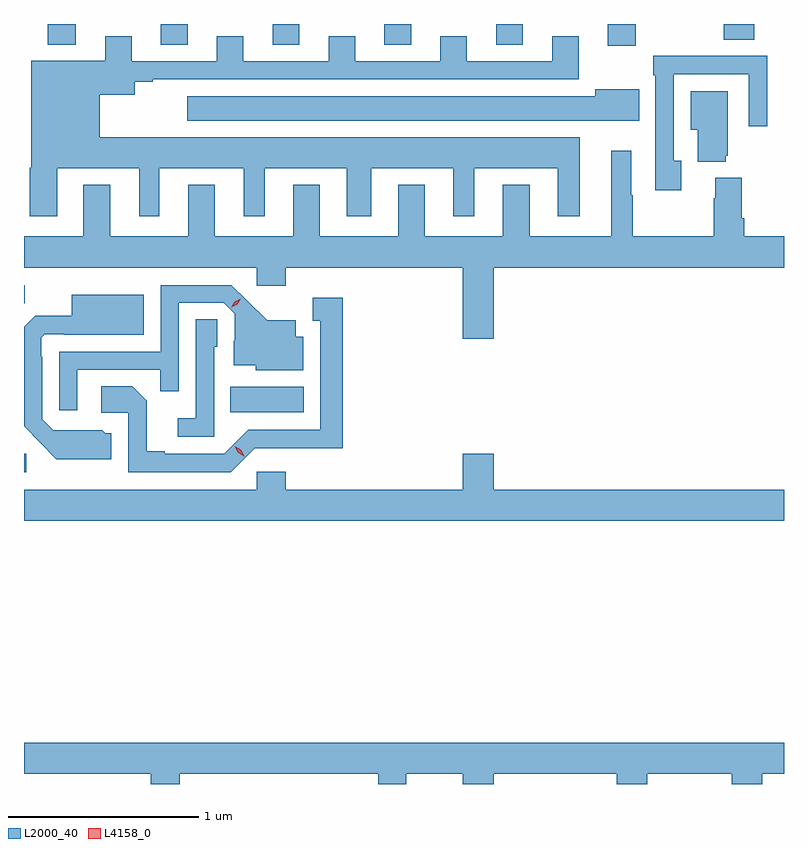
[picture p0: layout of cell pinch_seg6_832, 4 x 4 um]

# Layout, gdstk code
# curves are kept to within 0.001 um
import gdstk
lib = gdstk.Library(unit=1e-6, precision=1e-09)
def R(c, l, rs):  # rectangles x0, y0, x1, y1
    for r in rs: c.add(gdstk.rectangle(r[:2], r[2:], *l))
def A(c, l, x, y, w, h, nx, ny, dx, dy):  # array of equal rectangles
    R(c, l, [(x+i*dx, y+j*dy, x+i*dx+w, y+j*dy+h) for i in range(nx) for j in range(ny)])
def P(c, l, *ps):  # polygons
    for p in ps: c.add(gdstk.Polygon(p, *l))
L2000_40 = (2000, 40)
L4158_0 = (4158, 0)

pinch_seg6_832 = lib.new_cell('pinch_seg6_832')
A(pinch_seg6_832, L2000_40, 151.433, 992.464, 0.14, 0.11, 4, 1, 0.588, 0)
R(pinch_seg6_832, L2000_40, [(150.712,990.216,150.724,990.312), (151.798,990.53,152.185,990.664), (150.712,991.105,150.717,991.2), (153.785,992.46,153.933,992.574), (150.838,992.465,150.985,992.574), (154.396,992.491,154.556,992.574)])
P(pinch_seg6_832, L2000_40, [(150.886,991.814),(151.319,991.814),(151.319,991.563),(151.423,991.563),(151.423,991.814),(151.868,991.814),(151.868,991.563),(151.978,991.563),(151.978,991.814),(152.411,991.814),(152.411,991.563),(152.539,991.563),(152.539,991.814),(152.972,991.814),(152.972,991.563),(153.082,991.563),(153.082,991.814),(153.521,991.814),(153.521,991.563),(153.637,991.563),(153.637,991.978),(151.111,991.978),(151.111,992.201),(151.294,992.201),(151.294,992.271),(151.39,992.271),(151.39,992.283),(153.631,992.283),(153.631,992.509),(153.491,992.509),(153.491,992.379),(153.043,992.379),(153.043,992.509),(152.903,992.509),(152.903,992.379),(152.455,992.379),(152.455,992.509),(152.315,992.509),(152.315,992.379),(151.867,992.379),(151.867,992.509),(151.727,992.509),(151.727,992.379),(151.279,992.379),(151.279,992.509),(151.139,992.509),(151.139,992.38),(150.749,992.38),(150.749,991.818),(150.742,991.818),(150.742,991.563),(150.886,991.563)],
  [(154.171,991.854),(154.131,991.854),(154.131,992.31),(154.527,992.31),(154.527,992.037),(154.623,992.037),(154.623,992.406),(154.307,992.406),(154.307,992.408),(154.023,992.408),(154.023,992.303),(154.035,992.303),(154.035,991.698),(154.171,991.698)],
  [(153.949,992.23),(153.719,992.23),(153.719,992.194),(151.572,992.194),(151.572,992.066),(153.949,992.066)],
  [(154.406,991.881),(154.417,991.881),(154.417,992.221),(154.22,992.221),(154.22,992.018),(154.259,992.018),(154.259,991.85),(154.406,991.85)],
  [(153.184,991.292),(154.712,991.292),(154.712,991.456),(154.502,991.456),(154.502,991.552),(154.489,991.552),(154.489,991.765),(154.349,991.765),(154.349,991.658),(154.342,991.658),(154.342,991.456),(153.917,991.456),(153.917,991.673),(153.907,991.673),(153.907,991.906),(153.803,991.906),(153.803,991.456),(153.373,991.456),(153.373,991.729),(153.233,991.729),(153.233,991.456),(152.821,991.456),(152.821,991.729),(152.681,991.729),(152.681,991.456),(152.269,991.456),(152.269,991.729),(152.129,991.729),(152.129,991.456),(151.717,991.456),(151.717,991.729),(151.577,991.729),(151.577,991.456),(151.165,991.456),(151.165,991.729),(151.025,991.729),(151.025,991.456),(150.712,991.456),(150.712,991.292),(151.938,991.292),(151.938,991.197),(152.09,991.197),(152.09,991.292),(153.02,991.292),(153.02,990.918),(153.184,990.918)],
  [(150.993,990.753),(151.429,990.753),(151.429,990.64),(151.527,990.64),(151.527,991.107),(151.764,991.107),(151.821,991.05),(151.821,990.908),(151.817,990.908),(151.817,990.779),(151.932,990.779),(151.932,990.752),(152.182,990.752),(152.182,990.928),(152.143,990.928),(152.143,991.015),(151.991,991.015),(151.804,991.2),(151.431,991.2),(151.431,990.849),(150.897,990.849),(150.897,990.54),(150.993,990.54)],
  [(151.171,990.42),(151.14,990.42),(151.124,990.436),(150.867,990.435),(150.807,990.495),(150.807,990.824),(150.804,990.824),(150.804,990.924),(150.822,990.942),(150.922,990.942),(150.922,990.938),(151.342,990.938),(151.342,991.15),(150.962,991.15),(150.962,991.039),(150.77,991.039),(150.712,990.981),(150.712,990.457),(150.883,990.284),(151.171,990.284)],
  [(151.926,990.342),(152.389,990.341),(152.389,991.132),(152.231,991.132),(152.231,991.011),(152.27,991.011),(152.27,990.438),(151.893,990.438),(151.767,990.312),(151.453,990.312),(151.453,990.325),(151.359,990.325),(151.359,990.592),(151.283,990.668),(151.119,990.668),(151.119,990.528),(151.26,990.528),(151.26,990.216),(151.8,990.216)],
  [(151.713,990.876),(151.728,990.876),(151.728,991.019),(151.617,991.019),(151.617,990.499),(151.521,990.499),(151.521,990.402),(151.713,990.402)],
  [(154.712,990.124),(153.184,990.124),(153.184,990.313),(153.02,990.313),(153.02,990.124),(152.09,990.124),(152.09,990.217),(151.938,990.217),(151.938,990.124),(150.712,990.124),(150.712,989.96),(154.712,989.96)],
  [(151.531,988.628),(152.576,988.628),(152.576,988.574),(152.724,988.574),(152.724,988.628),(153.02,988.628),(153.02,988.574),(153.184,988.574),(153.184,988.628),(153.833,988.628),(153.833,988.574),(153.993,988.574),(153.993,988.628),(154.438,988.628),(154.438,988.574),(154.598,988.574),(154.598,988.628),(154.712,988.628),(154.712,988.792),(150.712,988.792),(150.712,988.628),(151.379,988.628),(151.379,988.574),(151.531,988.574)])
P(pinch_seg6_832, L4158_0, [(151.869,990.3),(151.838,990.319),(151.82,990.352),(151.82,990.352),(151.821,990.352),(151.852,990.333),(151.87,990.3),(151.87,990.3)],
  [(151.804,991.083),(151.804,991.083),(151.821,991.113),(151.852,991.129),(151.852,991.129),(151.852,991.129),(151.835,991.099),(151.804,991.083)])

lib.write_gds('pinch_seg6_832.gds')
